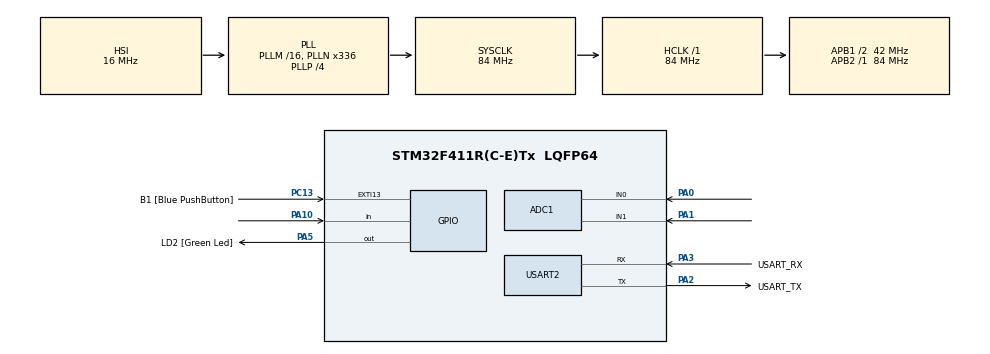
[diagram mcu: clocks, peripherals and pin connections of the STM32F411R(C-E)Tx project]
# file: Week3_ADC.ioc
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ADC1.Channel-0\#ChannelRegularConversion=ADC_CHANNEL_0
ADC1.NbrOfConversionFlag=1
ADC1.Rank-0\#ChannelRegularConversion=1
ADC1.SamplingTime-0\#ChannelRegularConversion=ADC_SAMPLETIME_3CYCLES
ADC1.master=1
Mcu.Family=STM32F4
Mcu.Name=STM32F411R(C-E)Tx
Mcu.Package=LQFP64
NVIC.PriorityGroup=NVIC_PRIORITYGROUP_0
PA0-WKUP.Signal=ADCx_IN0
PA1.Signal=ADCx_IN1
PA10.Signal=GPIO_Input
PA13.GPIO_Label=TMS
PA13.Mode=Serial_Wire
PA13.Signal=SYS_JTMS-SWDIO
PA14.GPIO_Label=TCK
PA14.Mode=Serial_Wire
PA14.Signal=SYS_JTCK-SWCLK
PA2.GPIO_Label=USART_TX
PA2.Mode=Asynchronous
PA2.Signal=USART2_TX
PA3.GPIO_Label=USART_RX
PA3.Mode=Asynchronous
PA3.Signal=USART2_RX
PA5.GPIO_Label=LD2 [Green Led]
PA5.Signal=GPIO_Output
PB3.GPIO_Label=SWO
PB3.Signal=SYS_JTDO-SWO
PC13-ANTI_TAMP.GPIO_Label=B1 [Blue PushButton]
PC13-ANTI_TAMP.GPIO_ModeDefaultEXTI=GPIO_MODE_IT_FALLING
PC13-ANTI_TAMP.Signal=GPXTI13
PC14-OSC32_IN.Mode=LSE-External-Oscillator
PC14-OSC32_IN.Signal=RCC_OSC32_IN
PC15-OSC32_OUT.Mode=LSE-External-Oscillator
PC15-OSC32_OUT.Signal=RCC_OSC32_OUT
PH0\ -\ OSC_IN.Mode=HSE-External-Clock-Source
PH0\ -\ OSC_IN.Signal=RCC_OSC_IN
PH1\ -\ OSC_OUT.Mode=HSE-External-Clock-Source
PH1\ -\ OSC_OUT.Signal=RCC_OSC_OUT
ProjectManager.HeapSize=0x200
ProjectManager.StackSize=0x400
ProjectManager.TargetToolchain=STM32CubeIDE
RCC.48MHZClocksFreq_Value=84000000
RCC.AHBFreq_Value=84000000
RCC.APB1CLKDivider=RCC_HCLK_DIV2
RCC.APB1Freq_Value=42000000
RCC.APB1TimFreq_Value=84000000
RCC.APB2Freq_Value=84000000
RCC.APB2TimFreq_Value=84000000
RCC.CortexFreq_Value=84000000
RCC.FLatency-AdvancedSettings=FLASH_LATENCY_2
RCC.HCLKFreq_Value=84000000
RCC.HSE_VALUE=8000000
RCC.HSI_VALUE=16000000
RCC.PLLN=336
RCC.PLLP=RCC_PLLP_DIV4
RCC.SYSCLKFreq_VALUE=84000000
RCC.SYSCLKSource=RCC_SYSCLKSOURCE_PLLCLK
RCC.VCOOutputFreq_Value=336000000
SH.ADCx_IN0.0=ADC1_IN0,IN0
SH.ADCx_IN1.0=ADC1_IN1,IN1
USART2.VirtualMode=VM_ASYNC
VP_ADC1_TempSens_Input.Mode=IN-TempSens
board=NUCLEO-F411RE

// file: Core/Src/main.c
/* USER CODE BEGIN Header */
/**
 ******************************************************************************
 * @file           : main.c
 * @brief          : Main program body
 ******************************************************************************
 * @attention
 *
 * <h2><center>&copy; Copyright (c) 2021 STMicroelectronics.
 * All rights reserved.</center></h2>
 *
 * This software component is licensed by ST under BSD 3-Clause license,
 * the "License"; You may not use this file except in compliance with the
 * License. You may obtain a copy of the License at:
 *                        opensource.org/licenses/BSD-3-Clause
 *
 ******************************************************************************
 */
/* USER CODE END Header */
#include "main.h"

ADC_HandleTypeDef hadc1;

UART_HandleTypeDef huart2;

/* USER CODE BEGIN PV */
uint16_t adcdata[2] = { 0 };
uint16_t ButtonTimeStamp =0;
uint16_t SwitchState[2]={0};
uint16_t ADCMode = 0;
int  a=0;
float ADCOutputConverted = 0;
typedef struct {
	ADC_ChannelConfTypeDef Config;
	uint32_t data;

} ADCStructure;

ADCStructure ADCChannel[3] = { 0 };

/* USER CODE END PV */

void SystemClock_Config(void);
static void MX_GPIO_Init(void);
static void MX_USART2_UART_Init(void);
static void MX_ADC1_Init(void);
/* USER CODE BEGIN PFP */
void ADCPollingMethodInit();
void ADCPollingMethodUpdate();
/* USER CODE END PFP */

int main(void)
{

  /* MCU Configuration--------------------------------------------------------*/

  /* Reset of all peripherals, Initializes the Flash interface and the Systick. */
  HAL_Init();

  /* Configure the system clock */
  SystemClock_Config();

  /* Initialize all configured peripherals */
  MX_GPIO_Init();
  MX_USART2_UART_Init();
  MX_ADC1_Init();
  /* USER CODE BEGIN 2 */
	ADCPollingMethodInit();

  /* USER CODE END 2 */

  /* Infinite loop */
	while (1) {

    /* USER CODE BEGIN 3 */

		ADCPollingMethodUpdate();

		if(HAL_GetTick() - ButtonTimeStamp >= 100)
			{
				ButtonTimeStamp = HAL_GetTick();
				SwitchState[0] = HAL_GPIO_ReadPin(GPIOA, GPIO_PIN_10);
				if(SwitchState[0] == GPIO_PIN_RESET && SwitchState[1] == GPIO_PIN_SET)
				{
					if(ADCMode == 0)
					{
						ADCMode = 1;
					}
					else
					{
						ADCMode = 0;
					}
				}
				SwitchState[1] = SwitchState[0];
			}
		if (ADCMode ==0)
		{
			ADCOutputConverted = (ADCChannel[0].data)*3.3/4096/1000;
			a=0;
		}
		else if (ADCMode ==1)
		{
				a=1;
				ADCOutputConverted = (((ADCChannel[2].data)*3.3/4096)-0.76)/0.0025 + 25;

		}

	}
  /* USER CODE END 3 */
}

void SystemClock_Config(void)
{
  RCC_OscInitTypeDef RCC_OscInitStruct = {0};
  RCC_ClkInitTypeDef RCC_ClkInitStruct = {0};

  /** Configure the main internal regulator output voltage
  */
  __HAL_RCC_PWR_CLK_ENABLE();
  __HAL_PWR_VOLTAGESCALING_CONFIG(PWR_REGULATOR_VOLTAGE_SCALE1);
  /** Initializes the RCC Oscillators according to the specified parameters
  * in the RCC_OscInitTypeDef structure.
  */
  RCC_OscInitStruct.OscillatorType = RCC_OSCILLATORTYPE_HSI;
  RCC_OscInitStruct.HSIState = RCC_HSI_ON;
  RCC_OscInitStruct.HSICalibrationValue = RCC_HSICALIBRATION_DEFAULT;
  RCC_OscInitStruct.PLL.PLLState = RCC_PLL_ON;
  RCC_OscInitStruct.PLL.PLLSource = RCC_PLLSOURCE_HSI;
  RCC_OscInitStruct.PLL.PLLM = 16;
  RCC_OscInitStruct.PLL.PLLN = 336;
  RCC_OscInitStruct.PLL.PLLP = RCC_PLLP_DIV4;
  RCC_OscInitStruct.PLL.PLLQ = 4;
  if (HAL_RCC_OscConfig(&RCC_OscInitStruct) != HAL_OK)
  {
    Error_Handler();
  }
  /** Initializes the CPU, AHB and APB buses clocks
  */
  RCC_ClkInitStruct.ClockType = RCC_CLOCKTYPE_HCLK|RCC_CLOCKTYPE_SYSCLK
                              |RCC_CLOCKTYPE_PCLK1|RCC_CLOCKTYPE_PCLK2;
  RCC_ClkInitStruct.SYSCLKSource = RCC_SYSCLKSOURCE_PLLCLK;
  RCC_ClkInitStruct.AHBCLKDivider = RCC_SYSCLK_DIV1;
  RCC_ClkInitStruct.APB1CLKDivider = RCC_HCLK_DIV2;
  RCC_ClkInitStruct.APB2CLKDivider = RCC_HCLK_DIV1;

  if (HAL_RCC_ClockConfig(&RCC_ClkInitStruct, FLASH_LATENCY_2) != HAL_OK)
  {
    Error_Handler();
  }
}

static void MX_ADC1_Init(void)
{

  ADC_ChannelConfTypeDef sConfig = {0};

  /** Configure the global features of the ADC (Clock, Resolution, Data Alignment and number of conversion)
  */
  hadc1.Instance = ADC1;
  hadc1.Init.ClockPrescaler = ADC_CLOCK_SYNC_PCLK_DIV4;
  hadc1.Init.Resolution = ADC_RESOLUTION_12B;
  hadc1.Init.ScanConvMode = DISABLE;
  hadc1.Init.ContinuousConvMode = DISABLE;
  hadc1.Init.DiscontinuousConvMode = DISABLE;
  hadc1.Init.ExternalTrigConvEdge = ADC_EXTERNALTRIGCONVEDGE_NONE;
  hadc1.Init.ExternalTrigConv = ADC_SOFTWARE_START;
  hadc1.Init.DataAlign = ADC_DATAALIGN_RIGHT;
  hadc1.Init.NbrOfConversion = 1;
  hadc1.Init.DMAContinuousRequests = DISABLE;
  hadc1.Init.EOCSelection = ADC_EOC_SINGLE_CONV;
  if (HAL_ADC_Init(&hadc1) != HAL_OK)
  {
    Error_Handler();
  }
  /** Configure for the selected ADC regular channel its corresponding rank in the sequencer and its sample time.
  */
  sConfig.Channel = ADC_CHANNEL_0;
  sConfig.Rank = 1;
  sConfig.SamplingTime = ADC_SAMPLETIME_3CYCLES;
  if (HAL_ADC_ConfigChannel(&hadc1, &sConfig) != HAL_OK)
  {
    Error_Handler();
  }

}

static void MX_USART2_UART_Init(void)
{

  huart2.Instance = USART2;
  huart2.Init.BaudRate = 115200;
  huart2.Init.WordLength = UART_WORDLENGTH_8B;
  huart2.Init.StopBits = UART_STOPBITS_1;
  huart2.Init.Parity = UART_PARITY_NONE;
  huart2.Init.Mode = UART_MODE_TX_RX;
  huart2.Init.HwFlowCtl = UART_HWCONTROL_NONE;
  huart2.Init.OverSampling = UART_OVERSAMPLING_16;
  if (HAL_UART_Init(&huart2) != HAL_OK)
  {
    Error_Handler();
  }

}

static void MX_GPIO_Init(void)
{
  GPIO_InitTypeDef GPIO_InitStruct = {0};

  /* GPIO Ports Clock Enable */
  __HAL_RCC_GPIOC_CLK_ENABLE();
  __HAL_RCC_GPIOH_CLK_ENABLE();
  __HAL_RCC_GPIOA_CLK_ENABLE();
  __HAL_RCC_GPIOB_CLK_ENABLE();

  /*Configure GPIO pin Output Level */
  HAL_GPIO_WritePin(LD2_GPIO_Port, LD2_Pin, GPIO_PIN_RESET);

  /*Configure GPIO pin : B1_Pin */
  GPIO_InitStruct.Pin = B1_Pin;
  GPIO_InitStruct.Mode = GPIO_MODE_IT_FALLING;
  GPIO_InitStruct.Pull = GPIO_NOPULL;
  HAL_GPIO_Init(B1_GPIO_Port, &GPIO_InitStruct);

  /*Configure GPIO pin : LD2_Pin */
  GPIO_InitStruct.Pin = LD2_Pin;
  GPIO_InitStruct.Mode = GPIO_MODE_OUTPUT_PP;
  GPIO_InitStruct.Pull = GPIO_NOPULL;
  GPIO_InitStruct.Speed = GPIO_SPEED_FREQ_LOW;
  HAL_GPIO_Init(LD2_GPIO_Port, &GPIO_InitStruct);

  /*Configure GPIO pin : PA10 */
  GPIO_InitStruct.Pin = GPIO_PIN_10;
  GPIO_InitStruct.Mode = GPIO_MODE_INPUT;
  GPIO_InitStruct.Pull = GPIO_NOPULL;
  HAL_GPIO_Init(GPIOA, &GPIO_InitStruct);

}

/* USER CODE BEGIN 4 */
void ADCPollingMethodInit() {
	//config all ADC Channel
	ADCChannel[0].Config.Channel = ADC_CHANNEL_0;
	ADCChannel[0].Config.Rank = 1;
	ADCChannel[0].Config.SamplingTime = ADC_SAMPLETIME_3CYCLES;

	ADCChannel[1].Config.Channel = ADC_CHANNEL_1;
	ADCChannel[1].Config.Rank = 1;
	ADCChannel[1].Config.SamplingTime = ADC_SAMPLETIME_3CYCLES;

	ADCChannel[2].Config.Channel = ADC_CHANNEL_TEMPSENSOR;
	ADCChannel[2].Config.Rank = 1;
	ADCChannel[2].Config.SamplingTime = ADC_SAMPLETIME_3CYCLES;
}
//Polling Method
void ADCPollingMethodUpdate() {
	//Read all 3 Channel
	for (int i = 0; i < 3; i++) {
		HAL_ADC_ConfigChannel(&hadc1, &ADCChannel[i].Config);
		//ADC samping
		HAL_ADC_Start(&hadc1);
		//wait ADC
		if(HAL_ADC_PollForConversion(&hadc1, 10) == HAL_OK)
				{
					//Get Value
					ADCChannel[i].data = HAL_ADC_GetValue(&hadc1);
				}
		// stop
		HAL_ADC_Stop(&hadc1);
	}
}
/* USER CODE END 4 */

void Error_Handler(void)
{
	__disable_irq();
	while (1) {
	}
}

/************************ (C) COPYRIGHT STMicroelectronics *****END OF FILE****/
